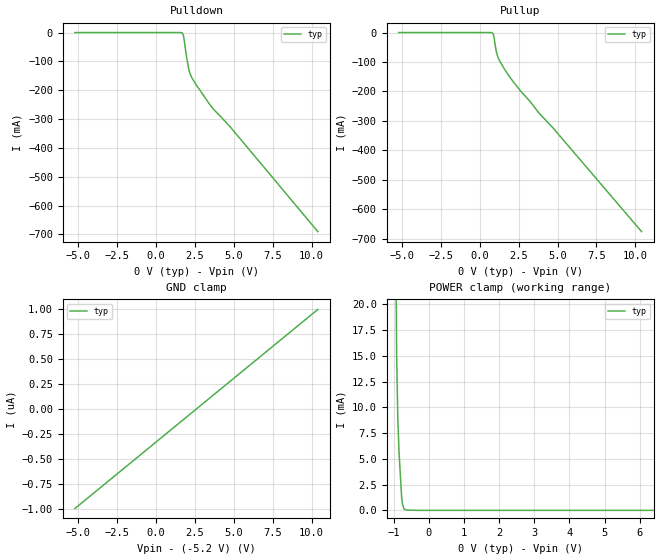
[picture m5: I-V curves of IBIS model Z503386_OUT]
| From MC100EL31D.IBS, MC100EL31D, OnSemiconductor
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| (C) COPYRIGHT 1993-2000
| MENTOR GRAPHICS CORPORATION
| ICX STANDARD LIBRARY, ICX PROJECT MODELING,
| ICX CUSTOM MODELING, ICX VENDOR MODEL
| ALL RIGHTS RESERVED.
| THE FOLLOWING ARE TRADEMARKS OR SERVICE MARKS OF
| MENTOR GRAPHICS CORPORATION:ICX (R), ICX STANDARD
| LIBRARY(R), ICX PROJECT MODELING(R), ICX CUSTOM
| MODELING(R), qualityIBIS(TM), MODELVIEWER(TM),
| AND MODELEDITOR(TM)
| ALL COPIES OF SOFTWARE, INCLUDING BUT NOT LIMITED TO
| ANY MODIFICATIONS, ENHANCEMENTS OR DERIVATIVE WORKS,
| MUST CONTAIN ALL MENTOR GRAPHICS CORPORATION'S
| NOTICES AND LEGENDS, INCLUDING THOSE EMBEDDED IN
| SOFTWARE AND THOSE AFFIXED TO SOFTWARE MEDIUM
| AND CONTAINER, AS RECEIVED FROM MENTOR GRAPHICS
| CORPORATION.
| Model Application Version 1.89 2/18/99.
[Model] Z503386_OUT
Model_type Output_ECL
Vref=-2.000V
Rref=50.00ohms
Cref=0.000F
Vmeas=-1.320V
C_comp 8.000pF NA NA
| variable typ   min   max
[Voltage Range] -5.200V NA NA
[POWER Clamp Reference] 0.000V NA NA
[Pullup Reference] 0.000V NA NA
[Pulldown Reference] 0.000V NA NA
[GND Clamp Reference] -5.200V NA NA
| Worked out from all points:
|   POWER clamp passes 1 mA (typ) near -0.76 V on its own axis
[GND Clamp]
-5.2V     -1uA       NA         NA
10.4V     1uA        NA         NA
[Pulldown]
-5.2V     120.4uA    NA         NA
1.7V      -1.88mA    NA         NA
1.737V    -4.889mA   NA         NA
1.788V    -14.71mA   NA         NA
1.968V    -84.89mA   NA         NA
2.105V    -125.8mA   NA         NA
2.202V    -144.1mA   NA         NA
2.329V    -158.9mA   NA         NA
2.617V    -183.9mA   NA         NA
3.574V    -257.6mA   NA         NA
4.78V     -327.5mA   NA         NA
10.4V     -690.4mA   NA         NA
[Pullup]
-5.2V     89.79uA    NA         NA
703.2mV   52.1uA     NA         NA
844mV     -2.797mA   NA         NA
927.7mV   -17.82mA   NA         NA
1.055V    -62.06mA   NA         NA
1.172V    -83.4mA    NA         NA
1.606V    -125.4mA   NA         NA
2.159V    -167.3mA   NA         NA
3.301V    -238.3mA   NA         NA
3.779V    -271.8mA   NA         NA
4.702V    -323.6mA   NA         NA
10.4V     -676.6mA   NA         NA
[POWER Clamp]
-5.2V     1.636A     NA         NA
-1.12V    117mA      NA         NA
-912.7mV  15.14mA    NA         NA
-878.6mV  8.78mA     NA         NA
-841.7mV  5.5mA      NA         NA
-768.4mV  1.171mA    NA         NA
-748.9mV  667.6uA    NA         NA
-707.4mV  154.3uA    NA         NA
-629.5mV  30.51uA    NA         NA
-314.7mV  0A         NA         NA
10.4V     0A         NA         NA
[Ramp]
| variable typ min max
dV/dt_r 480.7m/503.3p NA NA
dV/dt_f 480.7m/340.9p NA NA
R_load = 50.00Ohms
